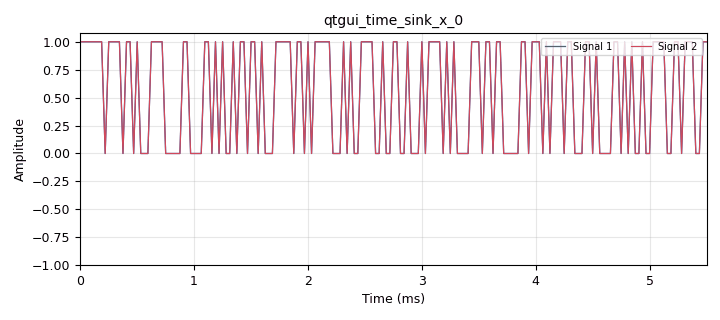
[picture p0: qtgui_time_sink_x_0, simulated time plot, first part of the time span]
options:
  parameters:
    author: cpsl
    generate_options: qt_gui
    id: packingBits_py
    output_language: python
    title: Packing Bits
  states: {}

blocks:
- name: samp_rate
  id: variable
  parameters:
    value: '32000'
  states: {}
- name: analog_random_source_x_0
  id: analog_random_source_x
  parameters:
    max: '2'
    min: '0'
    num_samps: '1000'
    repeat: 'True'
    type: byte
  states: {state: disabled}
- name: analog_random_source_x_0_0
  id: analog_random_source_x
  parameters:
    max: '2'
    min: '0'
    num_samps: '1000'
    repeat: 'True'
    type: byte
  states: {}
- name: blocks_char_to_float_0
  id: blocks_char_to_float
  parameters:
    scale: '1'
  states: {state: disabled}
- name: blocks_char_to_float_0_0
  id: blocks_char_to_float
  parameters:
    scale: '1'
  states: {state: disabled}
- name: blocks_char_to_float_0_0_0
  id: blocks_char_to_float
  parameters:
    scale: '1'
  states: {}
- name: blocks_char_to_float_0_0_0_0
  id: blocks_char_to_float
  parameters:
    scale: '1'
  states: {}
- name: blocks_pack_k_bits_bb_0
  id: blocks_pack_k_bits_bb
  parameters:
    k: '4'
  states: {state: disabled}
- name: blocks_pack_k_bits_bb_0_1
  id: blocks_pack_k_bits_bb
  parameters:
    k: '4'
  states: {}
- name: blocks_throttle_0
  id: blocks_throttle
  parameters:
    samples_per_second: samp_rate
    type: byte
  states: {state: disabled}
- name: blocks_throttle_0_0
  id: blocks_throttle
  parameters:
    samples_per_second: samp_rate
    type: byte
  states: {}
- name: blocks_unpack_k_bits_bb_0
  id: blocks_unpack_k_bits_bb
  parameters:
    k: '4'
  states: {state: disabled}
- name: blocks_unpack_k_bits_bb_0_0
  id: blocks_unpack_k_bits_bb
  parameters:
    k: '4'
  states: {}
- name: qtgui_histogram_sink_x_0
  id: qtgui_histogram_sink_x
  parameters:
    bins: '1024'
    name: '"4 bits"'
    size: '1024'
    type: float
    xmax: '16'
    xmin: '-1'
  states: {state: disabled}
- name: qtgui_histogram_sink_x_0_0
  id: qtgui_histogram_sink_x
  parameters:
    bins: '1024'
    name: '"1 bit"'
    size: '1024'
    type: float
    xmax: '16'
    xmin: '-1'
  states: {state: disabled}
- name: qtgui_time_sink_x_0
  id: qtgui_time_sink_x
  parameters:
    nconnections: '2'
    size: '1024'
    srate: samp_rate
    type: float
  states: {}

connections:
- [analog_random_source_x_0, '0', blocks_throttle_0, '0']
- [analog_random_source_x_0_0, '0', blocks_char_to_float_0_0_0_0, '0']
- [analog_random_source_x_0_0, '0', blocks_throttle_0_0, '0']
- [blocks_char_to_float_0, '0', qtgui_histogram_sink_x_0, '0']
- [blocks_char_to_float_0_0, '0', qtgui_histogram_sink_x_0_0, '0']
- [blocks_char_to_float_0_0_0, '0', qtgui_time_sink_x_0, '0']
- [blocks_char_to_float_0_0_0_0, '0', qtgui_time_sink_x_0, '1']
- [blocks_pack_k_bits_bb_0, '0', blocks_char_to_float_0, '0']
- [blocks_pack_k_bits_bb_0, '0', blocks_unpack_k_bits_bb_0, '0']
- [blocks_pack_k_bits_bb_0_1, '0', blocks_unpack_k_bits_bb_0_0, '0']
- [blocks_throttle_0, '0', blocks_pack_k_bits_bb_0, '0']
- [blocks_throttle_0_0, '0', blocks_pack_k_bits_bb_0_1, '0']
- [blocks_unpack_k_bits_bb_0, '0', blocks_char_to_float_0_0, '0']
- [blocks_unpack_k_bits_bb_0_0, '0', blocks_char_to_float_0_0_0, '0']

metadata:
  file_format: 1
